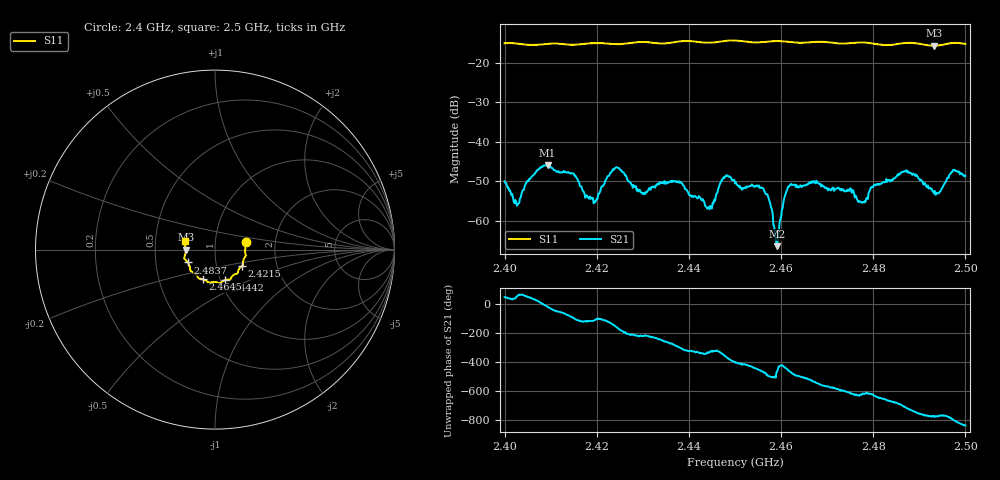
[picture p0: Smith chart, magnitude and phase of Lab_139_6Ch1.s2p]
# Hz S RI R 50
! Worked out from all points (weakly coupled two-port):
!   601 points, 2.4 GHz to 2.5 GHz, reference 50 ohm
!   highest |S21| = -45.93 dB at 2.4093 GHz (marker M1); lowest = -66.4 dB at 2.4592 GHz (marker M2)
!   lowest |S11| = -15.7 dB at 2.4932 GHz (marker M3), VSWR 1.39, Z = 35.9 - j0.0494 ohm
!   |S11| at or under -10 dB: start of sweep to end of sweep
!   S12 and S22 are empty: the file has one direction only
!   S11 on the Smith chart (normalised r, x): 2.4 GHz: 1.41, +0.12; 2.4215 GHz: 1.33, -0.25; 2.4442 GHz: 1.05, -0.37; 2.4645 GHz: 0.83, -0.29; 2.4837 GHz: 0.73, -0.11; 2.5 GHz: 0.71, +0.07
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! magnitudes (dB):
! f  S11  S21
! 2.4 GHz  -15.1  -50.0
! 2.4027 GHz  -15.1  -56.2
! 2.4093 GHz  -15.2  -45.9
! 2.4167 GHz  -15.3  -51.3
! 2.4197 GHz  -15.0  -55.2
! 2.4215 GHz  -15.1  -50.9
! 2.4243 GHz  -15.3  -46.4
! 2.43 GHz  -14.8  -53.0
! 2.4333 GHz  -15.1  -50.6
! 2.4442 GHz  -15.0  -56.7
! 2.4477 GHz  -14.5  -49.2
! 2.45 GHz  -14.4  -50.5
! 2.4565 GHz  -14.8  -52.7
! 2.4592 GHz  -14.5  -66.4
! 2.4613 GHz  -14.7  -52.2
! 2.4645 GHz  -15.0  -51.5
! 2.4667 GHz  -14.8  -50.1
! 2.4778 GHz  -14.9  -55.2
! 2.4833 GHz  -15.6  -49.7
! 2.4837 GHz  -15.5  -50.0
! 2.4932 GHz  -15.7  -53.0
! 2.5 GHz  -15.3  -48.6
